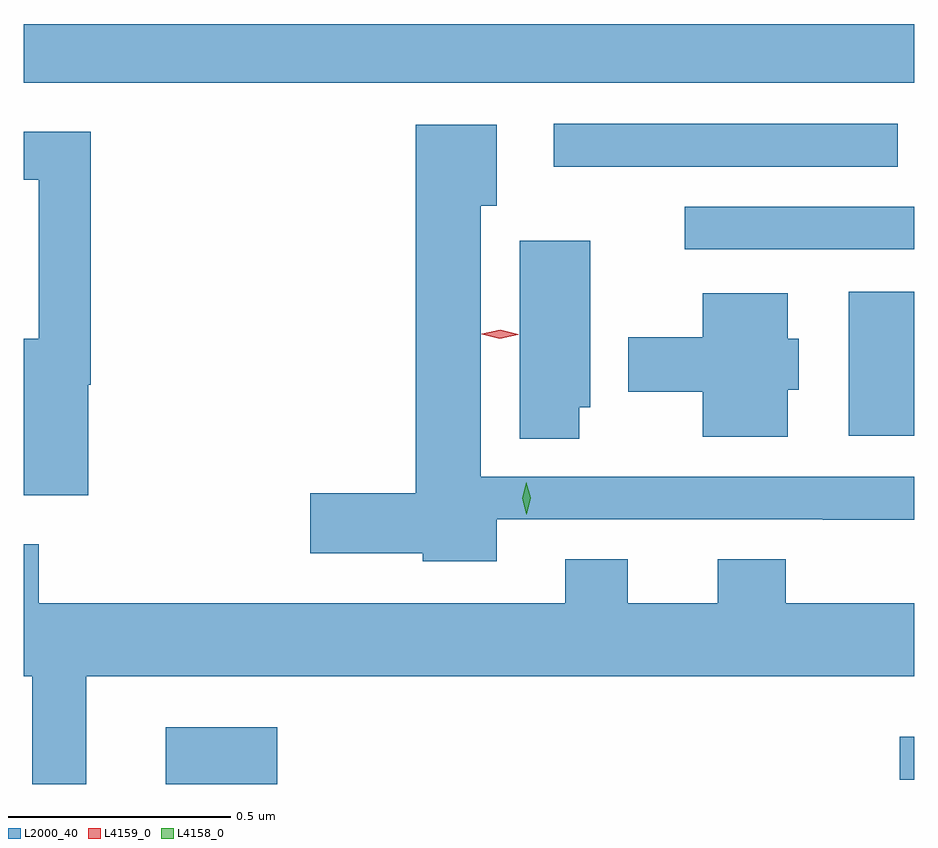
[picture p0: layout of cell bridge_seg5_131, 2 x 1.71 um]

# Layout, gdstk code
import gdstk
lib = gdstk.Library(unit=1e-6, precision=1e-09)
def R(c, l, rs):  # rectangles x0, y0, x1, y1
    for r in rs: c.add(gdstk.rectangle(r[:2], r[2:], *l))
def P(c, l, *ps):  # polygons
    for p in ps: c.add(gdstk.Polygon(p, *l))
L2000_40 = (2000, 40)
L4158_0 = (4158, 0)
L4159_0 = (4159, 0)

bridge_seg5_131 = lib.new_cell('bridge_seg5_131')
R(bridge_seg5_131, L2000_40, [(422.309,913.794,422.56,913.921), (423.957,913.803,423.99,913.9), (423.842,914.576,423.99,914.899), (423.474,914.994,423.99,915.09), (423.18,915.18,423.952,915.276), (421.99,915.368,423.99,915.5)])
P(bridge_seg5_131, L2000_40, [(423.052,914.388),(423.784,914.388),(423.784,914.387),(423.99,914.387),(423.99,914.484),(423.016,914.484),(423.016,915.092),(423.052,915.092),(423.052,915.274),(422.87,915.274),(422.87,914.447),(422.634,914.447),(422.634,914.312),(422.886,914.312),(422.886,914.294),(423.052,914.294)],
  [(422.135,914.69),(422.141,914.69),(422.141,915.258),(421.99,915.258),(421.99,915.15),(422.024,915.15),(422.024,914.794),(421.99,914.794),(421.99,914.442),(422.135,914.442)],
  [(423.238,914.64),(423.262,914.64),(423.262,915.013),(423.104,915.013),(423.104,914.569),(423.238,914.569)],
  [(423.706,914.679),(423.73,914.679),(423.73,914.793),(423.706,914.793),(423.706,914.896),(423.515,914.896),(423.515,914.797),(423.347,914.797),(423.347,914.675),(423.515,914.675),(423.515,914.573),(423.706,914.573)],
  [(422.131,914.036),(423.99,914.036),(423.99,914.2),(423.701,914.2),(423.701,914.299),(423.548,914.299),(423.548,914.2),(423.346,914.2),(423.346,914.299),(423.206,914.299),(423.206,914.2),(422.024,914.2),(422.024,914.332),(421.99,914.332),(421.99,914.036),(422.01,914.036),(422.01,913.794),(422.131,913.794)])
P(bridge_seg5_131, L4158_0, [(423.119,914.4),(423.109,914.435),(423.118,914.471),(423.118,914.471),(423.118,914.471),(423.129,914.436),(423.12,914.4),(423.12,914.4)])
P(bridge_seg5_131, L4159_0, [(423.059,914.794),(423.019,914.804),(423.019,914.804),(423.019,914.805),(423.06,914.814),(423.1,914.804),(423.1,914.803),(423.1,914.803)])

lib.write_gds('bridge_seg5_131.gds')
